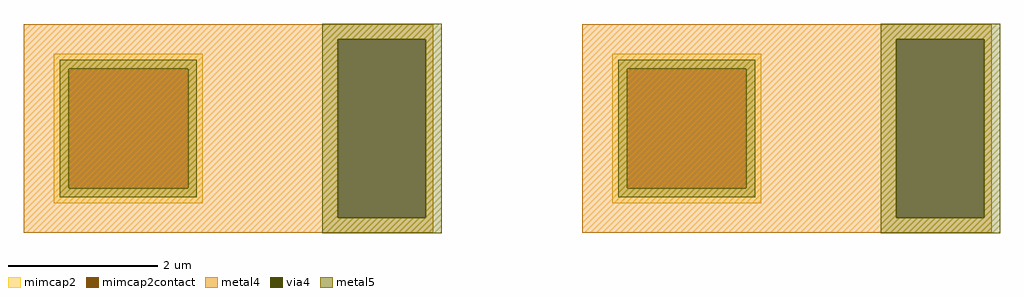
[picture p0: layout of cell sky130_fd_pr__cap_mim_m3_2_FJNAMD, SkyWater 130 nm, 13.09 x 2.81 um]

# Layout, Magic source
magic
tech sky130B
magscale 1 2
<< metal4 >>
rect -1298 239 -200 280
rect -1298 -239 -456 239
rect -220 -239 -200 239
rect -1298 -280 -200 -239
rect 200 239 1298 280
rect 200 -239 1042 239
rect 1278 -239 1298 239
rect 200 -280 1298 -239
<< via4 >>
rect -456 -239 -220 239
rect 1042 -239 1278 239
<< mimcap2 >>
rect -1218 160 -818 200
rect -1218 -160 -1178 160
rect -858 -160 -818 160
rect -1218 -200 -818 -160
rect 280 160 680 200
rect 280 -160 320 160
rect 640 -160 680 160
rect 280 -200 680 -160
<< mimcap2contact >>
rect -1178 -160 -858 160
rect 320 -160 640 160
<< metal5 >>
rect -498 239 -178 281
rect -1202 160 -834 184
rect -1202 -160 -1178 160
rect -858 -160 -834 160
rect -1202 -184 -834 -160
rect -498 -239 -456 239
rect -220 -239 -178 239
rect 1000 239 1320 281
rect 296 160 664 184
rect 296 -160 320 160
rect 640 -160 664 160
rect 296 -184 664 -160
rect -498 -281 -178 -239
rect 1000 -239 1042 239
rect 1278 -239 1320 239
rect 1000 -281 1320 -239
<< properties >>
string FIXED_BBOX 200 -280 760 280
string gencell sky130_fd_pr__cap_mim_m3_2
string library sky130
string parameters w 2.00 l 2.00 val 9.52 carea 2.00 cperi 0.19 nx 2 ny 1 dummy 0 square 0 lmin 2.00 wmin 2.00 lmax 30.0 wmax 30.0 dc 0 bconnect 1 tconnect 1 ccov 100
<< end >>
